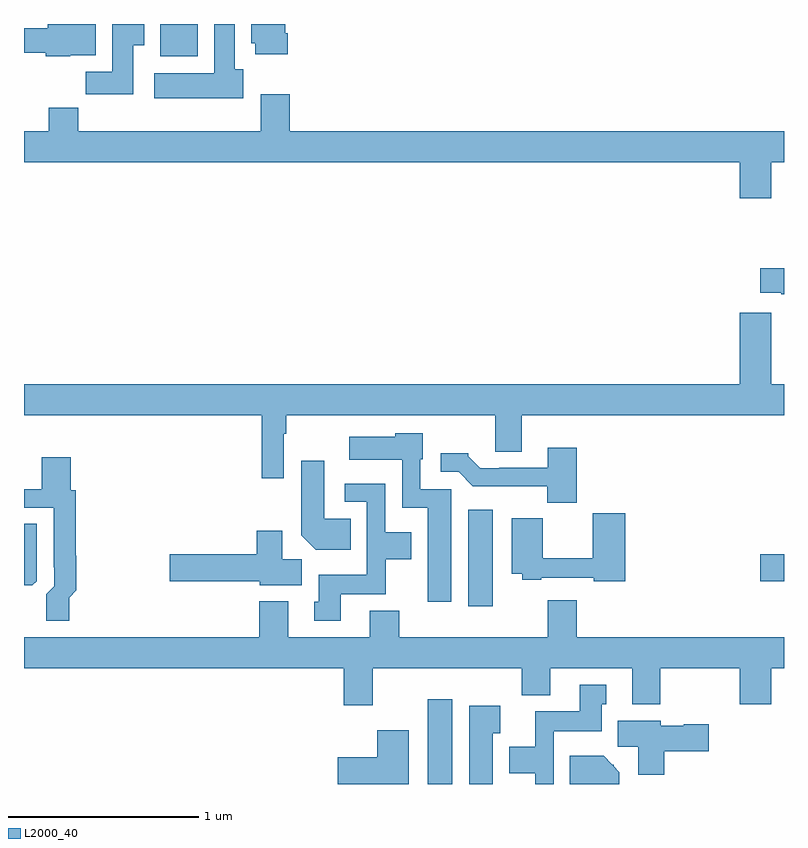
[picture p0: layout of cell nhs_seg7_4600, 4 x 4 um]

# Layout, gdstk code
import gdstk
lib = gdstk.Library(unit=1e-6, precision=1e-09)
def R(c, l, rs):  # rectangles x0, y0, x1, y1
    for r in rs: c.add(gdstk.rectangle(r[:2], r[2:], *l))
def P(c, l, *ps):  # polygons
    for p in ps: c.add(gdstk.Polygon(p, *l))
L2000_40 = (2000, 40)

nhs_seg7_4600 = lib.new_cell('nhs_seg7_4600')
R(nhs_seg7_4600, L2000_40, [(403.124,1008,403.255,1008.445), (403.337,1008.936,403.468,1009.444), (404.874,1009.066,405,1009.208), (401.717,1011.83,401.914,1012)])
P(nhs_seg7_4600, L2000_40, [(402.154,1011.762),(402.109,1011.762),(402.109,1012),(402.002,1012),(402.002,1011.742),(401.685,1011.742),(401.685,1011.608),(402.154,1011.608)],
  [(402.389,1011.952),(402.376,1011.952),(402.376,1012),(402.197,1012),(402.197,1011.9),(402.218,1011.9),(402.218,1011.84),(402.389,1011.84)],
  [(401.575,1011.889),(401.632,1011.889),(401.632,1012),(401.465,1012),(401.465,1011.748),(401.326,1011.748),(401.326,1011.63),(401.575,1011.63)],
  [(401.244,1011.836),(401.377,1011.836),(401.377,1012),(401.126,1012),(401.126,1011.977),(401,1011.977),(401,1011.849),(401.114,1011.849),(401.114,1011.83),(401.244,1011.83)],
  [(404.932,1011.272),(405,1011.272),(405,1011.436),(402.398,1011.436),(402.398,1011.631),(402.245,1011.631),(402.245,1011.436),(401.285,1011.436),(401.285,1011.56),(401.129,1011.56),(401.129,1011.436),(401,1011.436),(401,1011.272),(404.768,1011.272),(404.768,1011.084),(404.932,1011.084)],
  [(405,1010.715),(404.874,1010.715),(404.874,1010.585),(404.986,1010.585),(404.986,1010.578),(405,1010.578)],
  [(402.366,1009.844),(402.379,1009.844),(402.379,1009.94),(403.481,1009.94),(403.481,1009.75),(403.621,1009.75),(403.621,1009.94),(405,1009.94),(405,1010.104),(404.932,1010.104),(404.932,1010.479),(404.768,1010.479),(404.768,1010.104),(401,1010.104),(401,1009.94),(402.25,1009.94),(402.25,1009.608),(402.366,1009.608)],
  [(403.249,1009.551),(403.086,1009.551),(403.086,1009.71),(403.099,1009.71),(403.099,1009.846),(402.954,1009.846),(402.954,1009.828),(402.711,1009.828),(402.711,1009.706),(402.99,1009.706),(402.99,1009.454),(403.124,1009.454),(403.124,1008.96),(403.249,1008.96)],
  [(403.91,1009.771),(403.757,1009.771),(403.757,1009.665),(403.501,1009.665),(403.501,1009.662),(403.402,1009.662),(403.338,1009.726),(403.338,1009.741),(403.194,1009.741),(403.194,1009.644),(403.287,1009.644),(403.363,1009.568),(403.755,1009.568),(403.755,1009.481),(403.91,1009.481)],
  [(401.237,1008.981),(401.276,1009.02),(401.276,1009.202),(401.273,1009.202),(401.273,1009.545),(401.246,1009.545),(401.246,1009.72),(401.093,1009.72),(401.093,1009.552),(401,1009.552),(401,1009.455),(401.157,1009.455),(401.157,1009.141),(401.16,1009.141),(401.16,1009.041),(401.117,1008.998),(401.117,1008.858),(401.237,1008.858)],
  [(402.719,1009.396),(402.58,1009.396),(402.58,1009.702),(402.458,1009.702),(402.458,1009.31),(402.536,1009.232),(402.719,1009.232)],
  [(402.667,1008.998),(402.903,1008.998),(402.903,1009.184),(403.039,1009.184),(403.039,1009.324),(402.9,1009.324),(402.9,1009.581),(402.687,1009.581),(402.687,1009.485),(402.804,1009.485),(402.804,1009.102),(402.551,1009.102),(402.551,1008.96),(402.527,1008.96),(402.527,1008.858),(402.667,1008.858)],
  [(404.165,1009.426),(403.994,1009.426),(403.994,1009.187),(403.73,1009.187),(403.73,1009.399),(403.568,1009.399),(403.568,1009.106),(403.623,1009.106),(403.623,1009.074),(403.723,1009.074),(403.723,1009.086),(403.998,1009.086),(403.998,1009.066),(404.165,1009.066)],
  [(401.067,1009.068),(401.067,1009.37),(401,1009.37),(401,1009.045),(401.043,1009.045)],
  [(402.463,1009.184),(402.358,1009.184),(402.358,1009.333),(402.224,1009.333),(402.224,1009.208),(401.766,1009.208),(401.766,1009.066),(402.24,1009.066),(402.24,1009.046),(402.463,1009.046)],
  [(402.835,1008.608),(403.619,1008.608),(403.619,1008.467),(403.771,1008.467),(403.771,1008.608),(404.201,1008.608),(404.201,1008.419),(404.349,1008.419),(404.349,1008.608),(404.768,1008.608),(404.768,1008.42),(404.932,1008.42),(404.932,1008.608),(405,1008.608),(405,1008.772),(403.91,1008.772),(403.91,1008.967),(403.757,1008.967),(403.757,1008.772),(402.974,1008.772),(402.974,1008.913),(402.821,1008.913),(402.821,1008.772),(402.391,1008.772),(402.391,1008.961),(402.239,1008.961),(402.239,1008.772),(401,1008.772),(401,1008.608),(402.683,1008.608),(402.683,1008.414),(402.835,1008.414)],
  [(403.788,1008.278),(404.041,1008.278),(404.041,1008.42),(404.065,1008.42),(404.065,1008.523),(403.925,1008.523),(403.925,1008.382),(403.691,1008.382),(403.691,1008.195),(403.553,1008.195),(403.553,1008.056),(403.692,1008.056),(403.692,1008),(403.788,1008)],
  [(403.468,1008.266),(403.507,1008.266),(403.507,1008.412),(403.343,1008.412),(403.343,1008),(403.468,1008)],
  [(404.369,1008.173),(404.605,1008.173),(404.605,1008.315),(404.472,1008.315),(404.472,1008.307),(404.352,1008.307),(404.352,1008.334),(404.126,1008.334),(404.126,1008.195),(404.234,1008.195),(404.234,1008.048),(404.369,1008.048)],
  [(403.024,1008.283),(402.86,1008.283),(402.86,1008.142),(402.651,1008.142),(402.651,1008),(403.024,1008)],
  [(404.134,1008.063),(404.103,1008.094),(404.103,1008.102),(404.097,1008.102),(404.051,1008.148),(403.873,1008.148),(403.873,1008),(404.134,1008)])

lib.write_gds('nhs_seg7_4600.gds')
